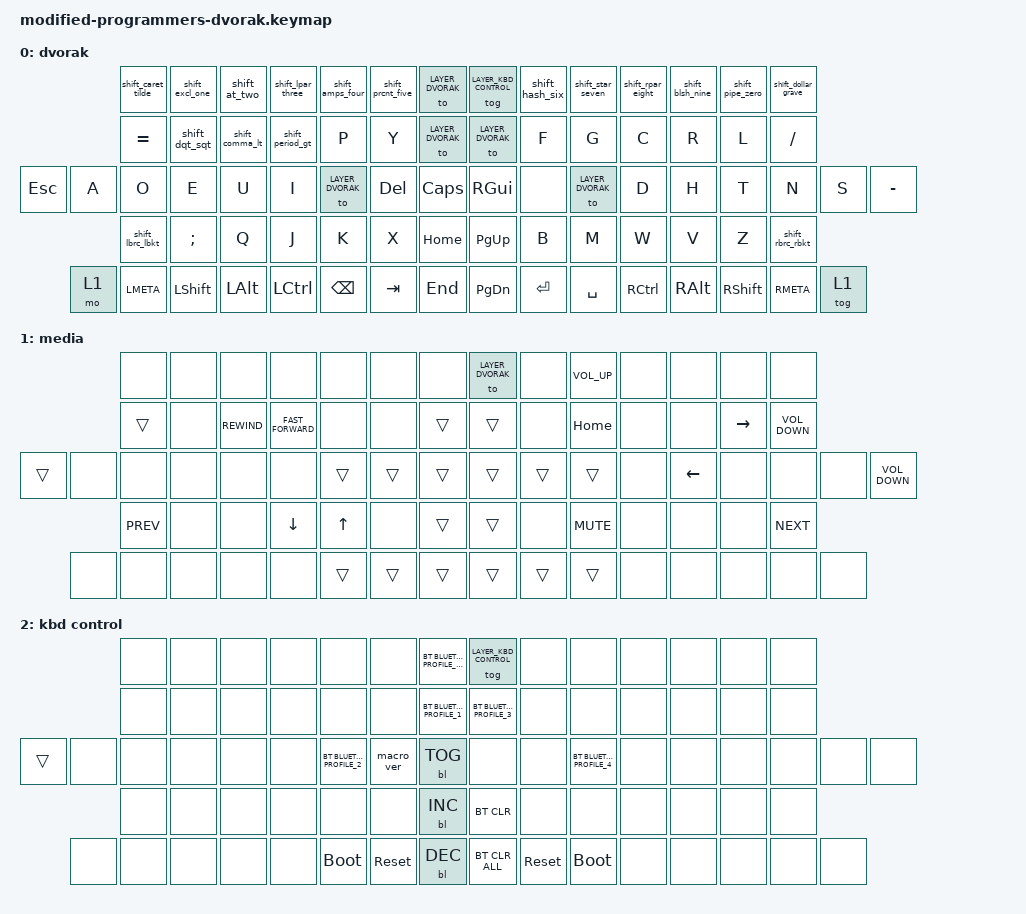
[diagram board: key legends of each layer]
#include <behaviors.dtsi>
#include <dt-bindings/zmk/keys.h>
#include <dt-bindings/zmk/bt.h>
#include <dt-bindings/zmk/rgb.h>
#include <dt-bindings/zmk/stp.h>
#include <dt-bindings/zmk/backlight.h>
#include <dt-bindings/zmk/pointing.h>
#define LAYER_DVORAK 0
#define LAYER_DVORAK_GR 1
#define LAYER_QWERTY 2
#define LAYER_QWERTY_GR 3
#define LAYER_KBD_CONTROL 2
#define LAYER_KEYPAD_AND_FUNCTIONS 5
#define BLUETOOTH_PROFILE_1 0
#define BLUETOOTH_PROFILE_2 1
#define BLUETOOTH_PROFILE_3 2
#define BLUETOOTH_PROFILE_4 3
#define BLUETOOTH_PROFILE_WIRED 4
/ {
behaviors {
#include "macros.dtsi"
#include "version.dtsi"
shift_caret_tilde: shift_caret_tilde {
compatible = "zmk,behavior-mod-morph";
label = "shift_caret_tilde";
#binding-cells = <0>;
bindings = <&kp CARET>, <&kp TILDE>;
mods = <(MOD_LSFT|MOD_RSFT)>;
};
shift_excl_one: shift_excl_one {
compatible = "zmk,behavior-mod-morph";
label = "shift_excl_one";
#binding-cells = <0>;
bindings = <&kp EXCL>, <&kp N1>;
mods = <(MOD_LSFT|MOD_RSFT)>;
};
shift_at_two: shift_at_two {
compatible = "zmk,behavior-mod-morph";
label = "shift_at_two";
#binding-cells = <0>;
bindings = <&kp AT>, <&kp N2>;
mods = <(MOD_LSFT|MOD_RSFT)>;
};
shift_lpar_three: shift_lpar_three {
compatible = "zmk,behavior-mod-morph";
label = "shift_lpar_three";
#binding-cells = <0>;
bindings = <&kp LPAR>, <&kp N3>;
mods = <(MOD_LSFT|MOD_RSFT)>;
};
shift_amps_four: shift_amps_four {
compatible = "zmk,behavior-mod-morph";
label = "shift_amps_four";
#binding-cells = <0>;
bindings = <&kp AMPS>, <&kp N4>;
mods = <(MOD_LSFT|MOD_RSFT)>;
};
shift_prcnt_five: shift_prcnt_five {
compatible = "zmk,behavior-mod-morph";
label = "shift_prcnt_five";
#binding-cells = <0>;
bindings = <&kp PRCNT>, <&kp N5>;
mods = <(MOD_LSFT|MOD_RSFT)>;
};
shift_hash_six: shift_hash_six {
compatible = "zmk,behavior-mod-morph";
label = "shift_hash_six";
#binding-cells = <0>;
bindings = <&kp HASH>, <&kp N6>;
mods = <(MOD_LSFT|MOD_RSFT)>;
};
shift_star_seven: shift_star_seven {
compatible = "zmk,behavior-mod-morph";
label = "shift_star_seven";
#binding-cells = <0>;
bindings = <&kp STAR>, <&kp N7>;
mods = <(MOD_LSFT|MOD_RSFT)>;
};
shift_rpar_eight: shift_rpar_eight {
compatible = "zmk,behavior-mod-morph";
label = "shift_rpar_eight";
#binding-cells = <0>;
bindings = <&kp RPAR>, <&kp N8>;
mods = <(MOD_LSFT|MOD_RSFT)>;
};
shift_blsh_nine: shift_blsh_nine {
compatible = "zmk,behavior-mod-morph";
label = "shift_blsh_nine";
#binding-cells = <0>;
bindings = <&kp BSLH>, <&kp N9>;
mods = <(MOD_LSFT|MOD_RSFT)>;
};
shift_pipe_zero: shift_pipe_zero {
compatible = "zmk,behavior-mod-morph";
label = "shift_pipe_zero";
#binding-cells = <0>;
bindings = <&kp PIPE>, <&kp N0>;
mods = <(MOD_LSFT|MOD_RSFT)>;
};
shift_dollar_grave: shift_dollar_grave {
compatible = "zmk,behavior-mod-morph";
label = "shift_dollar_grave";
#binding-cells = <0>;
bindings = <&kp DOLLAR>, <&kp GRAVE>;
mods = <(MOD_LSFT|MOD_RSFT)>;
};
shift_dqt_sqt: shift_dqt_sqt {
compatible = "zmk,behavior-mod-morph";
label = "shift_dqt_sqt";
#binding-cells = <0>;
bindings = <&kp DQT>, <&kp SQT>;
mods = <(MOD_LSFT|MOD_RSFT)>;
};
shift_comma_lt: shift_comma_lt {
compatible = "zmk,behavior-mod-morph";
label = "shift_comma_lt";
#binding-cells = <0>;
bindings = <&kp COMMA>, <&kp LT>;
mods = <(MOD_LSFT|MOD_RSFT)>;
};
shift_period_gt: shift_period_gt {
compatible = "zmk,behavior-mod-morph";
label = "shift_period_gt";
#binding-cells = <0>;
bindings = <&kp PERIOD>, <&kp GT>;
mods = <(MOD_LSFT|MOD_RSFT)>;
};
shift_lbrc_lbkt: shift_lbrc_lbkt {
compatible = "zmk,behavior-mod-morph";
label = "shift_lbrc_lbkt";
#binding-cells = <0>;
bindings = <&kp LBRC>, <&kp LBKT>;
mods = <(MOD_LSFT|MOD_RSFT)>;
};
shift_rbrc_rbkt: shift_rbrc_rbkt {
compatible = "zmk,behavior-mod-morph";
label = "shift_rbrc_rbkt";
#binding-cells = <0>;
bindings = <&kp RBRC>, <&kp RBKT>;
mods = <(MOD_LSFT|MOD_RSFT)>;
};
};
keymap {
compatible = "zmk,keymap";
layer_dvorak {
display-name = "dvorak";
bindings = <
&shift_caret_tilde &shift_excl_one &shift_at_two &shift_lpar_three &shift_amps_four &shift_prcnt_five &to LAYER_DVORAK &tog LAYER_KBD_CONTROL &shift_hash_six &shift_star_seven &shift_rpar_eight &shift_blsh_nine &shift_pipe_zero &shift_dollar_grave
&kp EQUAL &shift_dqt_sqt &shift_comma_lt &shift_period_gt &kp P &kp Y &to LAYER_DVORAK &to LAYER_DVORAK &kp F &kp G &kp C &kp R &kp L &kp SLASH
&kp ESC &kp A &kp O &kp E &kp U &kp I &to LAYER_DVORAK &kp DEL &kp CAPS &kp RGUI &none &to LAYER_DVORAK &kp D &kp H &kp T &kp N &kp S &kp MINUS
&shift_lbrc_lbkt &kp SEMI &kp Q &kp J &kp K &kp X &kp HOME &kp PG_UP &kp B &kp M &kp W &kp V &kp Z &shift_rbrc_rbkt
&mo 1 &kp LMETA &kp LSHIFT &kp LALT &kp LCTRL &kp BSPC &kp TAB &kp END &kp PG_DN &kp ENTER &kp SPACE &kp RCTRL &kp RALT &kp RSHIFT &kp RMETA &tog 1
>;
};
layer_media {
display-name = "media";
bindings = <
&none &none &none &none &none &none &none &to LAYER_DVORAK &none &kp C_VOLUME_UP &none &none &none &none
&trans &none &kp C_REWIND &kp C_FAST_FORWARD &none &none &trans &trans &none &kp HOME &none &none &kp RIGHT_ARROW &kp C_VOLUME_DOWN
&trans &none &none &none &none &none &trans &trans &trans &trans &trans &trans &none &kp LEFT_ARROW &none &none &none &kp C_VOLUME_DOWN
&kp C_PREV &none &none &kp DOWN_ARROW &kp UP_ARROW &none &trans &trans &none &kp C_MUTE &none &none &none &kp C_NEXT
&none &none &none &none &none &trans &trans &trans &trans &trans &trans &none &none &none &none &none
>;
};
layer_kbd_control {
display-name = "kbd control";
bindings = <
&none &none &none &none &none &none &bt BT_SEL BLUETOOTH_PROFILE_WIRED &tog LAYER_KBD_CONTROL &none &none &none &none &none &none
&none &none &none &none &none &none &bt BT_SEL BLUETOOTH_PROFILE_1 &bt BT_SEL BLUETOOTH_PROFILE_3 &none &none &none &none &none &none
&trans &none &none &none &none &none &bt BT_SEL BLUETOOTH_PROFILE_2 &macro_ver &bl BL_TOG &none &none &bt BT_SEL BLUETOOTH_PROFILE_4 &none &none &none &none &none &none
&none &none &none &none &none &none &bl BL_INC &bt BT_CLR &none &none &none &none &none &none
&none &none &none &none &none &bootloader &sys_reset &bl BL_DEC &bt BT_CLR_ALL &sys_reset &bootloader &none &none &none &none &none
>;
};
extra1 {
display-name = "Red";
status = "reserved";
};
extra2 {
display-name = "Purple";
status = "reserved";
};
extra3 {
display-name = "Cyan";
status = "reserved";
};
extra4 {
display-name = "Yellow";
status = "reserved";
};
};
};
